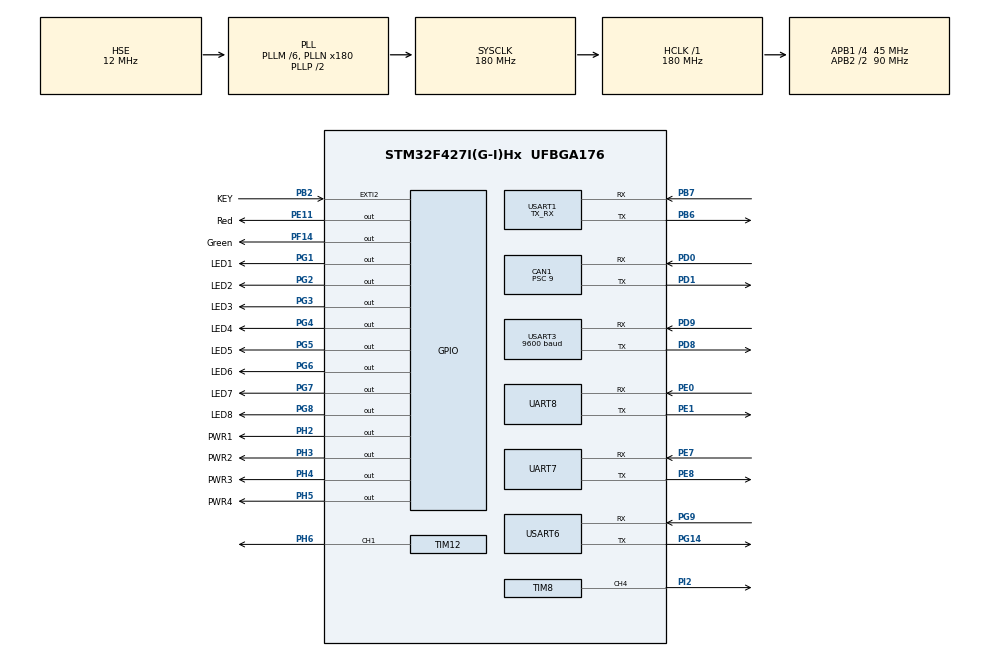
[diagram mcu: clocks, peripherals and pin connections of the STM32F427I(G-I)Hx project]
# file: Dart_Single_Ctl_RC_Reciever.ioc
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CAN1.ABOM=ENABLE
CAN1.BS1=CAN_BS1_2TQ
CAN1.BS2=CAN_BS2_2TQ
CAN1.CalculateBaudRate=1000000
CAN1.CalculateTimeBit=1000
CAN1.CalculateTimeQuantum=200.0
CAN1.Prescaler=9
Dma.Request0=UART7_RX
Dma.Request1=UART7_TX
Dma.Request2=USART3_TX
Dma.Request3=USART6_RX
Dma.Request4=USART1_RX
Dma.UART7_RX.0.Direction=DMA_PERIPH_TO_MEMORY
Dma.UART7_RX.0.FIFOMode=DMA_FIFOMODE_DISABLE
Dma.UART7_RX.0.Instance=DMA1_Stream3
Dma.UART7_RX.0.MemDataAlignment=DMA_MDATAALIGN_BYTE
Dma.UART7_RX.0.MemInc=DMA_MINC_ENABLE
Dma.UART7_RX.0.Mode=DMA_NORMAL
Dma.UART7_RX.0.PeriphDataAlignment=DMA_PDATAALIGN_BYTE
Dma.UART7_RX.0.PeriphInc=DMA_PINC_DISABLE
Dma.UART7_RX.0.Priority=DMA_PRIORITY_LOW
Dma.UART7_TX.1.Direction=DMA_MEMORY_TO_PERIPH
Dma.UART7_TX.1.FIFOMode=DMA_FIFOMODE_DISABLE
Dma.UART7_TX.1.Instance=DMA1_Stream1
Dma.UART7_TX.1.MemDataAlignment=DMA_MDATAALIGN_BYTE
Dma.UART7_TX.1.MemInc=DMA_MINC_ENABLE
Dma.UART7_TX.1.Mode=DMA_NORMAL
Dma.UART7_TX.1.PeriphDataAlignment=DMA_PDATAALIGN_BYTE
Dma.UART7_TX.1.PeriphInc=DMA_PINC_DISABLE
Dma.UART7_TX.1.Priority=DMA_PRIORITY_LOW
Dma.USART1_RX.4.Direction=DMA_PERIPH_TO_MEMORY
Dma.USART1_RX.4.FIFOMode=DMA_FIFOMODE_ENABLE
Dma.USART1_RX.4.FIFOThreshold=DMA_FIFO_THRESHOLD_FULL
Dma.USART1_RX.4.Instance=DMA2_Stream2
Dma.USART1_RX.4.MemBurst=DMA_MBURST_SINGLE
Dma.USART1_RX.4.MemDataAlignment=DMA_MDATAALIGN_BYTE
Dma.USART1_RX.4.MemInc=DMA_MINC_ENABLE
Dma.USART1_RX.4.Mode=DMA_CIRCULAR
Dma.USART1_RX.4.PeriphBurst=DMA_PBURST_SINGLE
Dma.USART1_RX.4.PeriphDataAlignment=DMA_PDATAALIGN_BYTE
Dma.USART1_RX.4.PeriphInc=DMA_PINC_DISABLE
Dma.USART1_RX.4.Priority=DMA_PRIORITY_MEDIUM
Dma.USART3_TX.2.Direction=DMA_MEMORY_TO_PERIPH
Dma.USART3_TX.2.FIFOMode=DMA_FIFOMODE_DISABLE
Dma.USART3_TX.2.Instance=DMA1_Stream4
Dma.USART3_TX.2.MemDataAlignment=DMA_MDATAALIGN_BYTE
Dma.USART3_TX.2.MemInc=DMA_MINC_ENABLE
Dma.USART3_TX.2.Mode=DMA_NORMAL
Dma.USART3_TX.2.PeriphDataAlignment=DMA_PDATAALIGN_BYTE
Dma.USART3_TX.2.PeriphInc=DMA_PINC_DISABLE
Dma.USART3_TX.2.Priority=DMA_PRIORITY_LOW
Dma.USART6_RX.3.Direction=DMA_PERIPH_TO_MEMORY
Dma.USART6_RX.3.FIFOMode=DMA_FIFOMODE_ENABLE
Dma.USART6_RX.3.FIFOThreshold=DMA_FIFO_THRESHOLD_FULL
Dma.USART6_RX.3.Instance=DMA2_Stream1
Dma.USART6_RX.3.MemBurst=DMA_MBURST_SINGLE
Dma.USART6_RX.3.MemDataAlignment=DMA_MDATAALIGN_BYTE
Dma.USART6_RX.3.MemInc=DMA_MINC_ENABLE
Dma.USART6_RX.3.Mode=DMA_CIRCULAR
Dma.USART6_RX.3.PeriphBurst=DMA_PBURST_SINGLE
Dma.USART6_RX.3.PeriphDataAlignment=DMA_PDATAALIGN_BYTE
Dma.USART6_RX.3.PeriphInc=DMA_PINC_DISABLE
Dma.USART6_RX.3.Priority=DMA_PRIORITY_MEDIUM
Mcu.Family=STM32F4
Mcu.Name=STM32F427I(G-I)Hx
Mcu.Package=UFBGA176
NVIC.CAN1_RX0_IRQn=true\:0\:0\:false\:false\:true\:true\:true\:true
NVIC.CAN1_RX1_IRQn=true\:0\:0\:false\:false\:true\:true\:true\:true
NVIC.CAN1_SCE_IRQn=true\:0\:0\:false\:false\:true\:true\:true\:true
NVIC.CAN1_TX_IRQn=true\:0\:0\:false\:false\:true\:true\:true\:true
NVIC.DMA1_Stream1_IRQn=true\:0\:0\:false\:false\:true\:false\:true\:true
NVIC.DMA1_Stream3_IRQn=true\:0\:0\:false\:false\:true\:false\:true\:true
NVIC.DMA1_Stream4_IRQn=true\:0\:0\:false\:false\:true\:false\:true\:true
NVIC.DMA2_Stream1_IRQn=true\:0\:0\:false\:false\:true\:false\:true\:true
NVIC.DMA2_Stream2_IRQn=true\:0\:0\:false\:false\:true\:false\:true\:true
NVIC.PriorityGroup=NVIC_PRIORITYGROUP_4
NVIC.TIM4_IRQn=true\:15\:0\:true\:false\:true\:false\:true\:true
NVIC.TimeBase=TIM4_IRQn
NVIC.TimeBaseIP=TIM4
NVIC.UART7_IRQn=true\:0\:0\:false\:false\:true\:true\:true\:true
NVIC.UART8_IRQn=true\:0\:0\:false\:false\:true\:true\:true\:true
NVIC.USART1_IRQn=true\:0\:0\:false\:false\:true\:true\:true\:true
NVIC.USART3_IRQn=true\:0\:0\:false\:false\:true\:true\:true\:true
PA13.Mode=Serial_Wire
PA13.Signal=SYS_JTMS-SWDIO
PA14.Mode=Serial_Wire
PA14.Signal=SYS_JTCK-SWCLK
PB2/BOOT1.GPIO_Label=KEY
PB2/BOOT1.GPIO_ModeDefaultEXTI=GPIO_MODE_IT_RISING
PB2/BOOT1.GPIO_PuPd=GPIO_PULLDOWN
PB2/BOOT1.Signal=GPXTI2
PB6.Mode=Asynchronous
PB6.Signal=USART1_TX
PB7.Mode=Asynchronous
PB7.Signal=USART1_RX
PC14/OSC32_IN.Mode=LSE-External-Oscillator
PC14/OSC32_IN.Signal=RCC_OSC32_IN
PC15/OSC32_OUT.Mode=LSE-External-Oscillator
PC15/OSC32_OUT.Signal=RCC_OSC32_OUT
PD0.Mode=CAN_Activate
PD0.Signal=CAN1_RX
PD1.Mode=CAN_Activate
PD1.Signal=CAN1_TX
PD8.Mode=Asynchronous
PD8.Signal=USART3_TX
PD9.Mode=Asynchronous
PD9.Signal=USART3_RX
PE0.Mode=Asynchronous
PE0.Signal=UART8_RX
PE1.Mode=Asynchronous
PE1.Signal=UART8_TX
PE11.GPIO_Label=Red
PE11.GPIO_PuPd=GPIO_PULLDOWN
PE11.PinState=GPIO_PIN_SET
PE11.Signal=GPIO_Output
PE7.Mode=Asynchronous
PE7.Signal=UART7_RX
PE8.Mode=Asynchronous
PE8.Signal=UART7_TX
PF14.GPIO_Label=Green
PF14.GPIO_PuPd=GPIO_PULLDOWN
PF14.GPIO_Speed=GPIO_SPEED_FREQ_LOW
PF14.PinState=GPIO_PIN_SET
PF14.Signal=GPIO_Output
PG1.GPIO_Label=LED1
PG1.GPIO_PuPd=GPIO_PULLDOWN
PG1.PinState=GPIO_PIN_SET
PG1.Signal=GPIO_Output
PG14.Mode=Asynchronous
PG14.Signal=USART6_TX
PG2.GPIO_Label=LED2
PG2.GPIO_PuPd=GPIO_PULLDOWN
PG2.PinState=GPIO_PIN_SET
PG2.Signal=GPIO_Output
PG3.GPIO_Label=LED3
PG3.GPIO_PuPd=GPIO_PULLDOWN
PG3.PinState=GPIO_PIN_SET
PG3.Signal=GPIO_Output
PG4.GPIO_Label=LED4
PG4.GPIO_PuPd=GPIO_PULLDOWN
PG4.PinState=GPIO_PIN_SET
PG4.Signal=GPIO_Output
PG5.GPIO_Label=LED5
PG5.GPIO_PuPd=GPIO_PULLDOWN
PG5.PinState=GPIO_PIN_SET
PG5.Signal=GPIO_Output
PG6.GPIO_Label=LED6
PG6.GPIO_PuPd=GPIO_PULLDOWN
PG6.PinState=GPIO_PIN_SET
PG6.Signal=GPIO_Output
PG7.GPIO_Label=LED7
PG7.GPIO_PuPd=GPIO_PULLDOWN
PG7.PinState=GPIO_PIN_SET
PG7.Signal=GPIO_Output
PG8.GPIO_Label=LED8
PG8.GPIO_PuPd=GPIO_PULLDOWN
PG8.PinState=GPIO_PIN_SET
PG8.Signal=GPIO_Output
PG9.Mode=Asynchronous
PG9.Signal=USART6_RX
PH0/OSC_IN.Mode=HSE-External-Oscillator
PH0/OSC_IN.Signal=RCC_OSC_IN
PH1/OSC_OUT.Mode=HSE-External-Oscillator
PH1/OSC_OUT.Signal=RCC_OSC_OUT
PH2.GPIO_Label=PWR1
PH2.GPIO_ModeDefaultOutputPP=GPIO_MODE_OUTPUT_PP
PH2.GPIO_PuPd=GPIO_PULLDOWN
PH2.Signal=GPIO_Output
PH3.GPIO_Label=PWR2
PH3.GPIO_PuPd=GPIO_PULLDOWN
PH3.Signal=GPIO_Output
PH4.GPIO_Label=PWR3
PH4.GPIO_PuPd=GPIO_PULLDOWN
PH4.Signal=GPIO_Output
PH5.GPIO_Label=PWR4
PH5.GPIO_PuPd=GPIO_PULLDOWN
PH5.Signal=GPIO_Output
PH6.Signal=S_TIM12_CH1
PI2.Signal=S_TIM8_CH4
ProjectManager.HeapSize=0x200
ProjectManager.StackSize=0x400
ProjectManager.TargetToolchain=MDK-ARM V5.32
RCC.48MHZClocksFreq_Value=90000000
RCC.AHBFreq_Value=180000000
RCC.APB1CLKDivider=RCC_HCLK_DIV4
RCC.APB1Freq_Value=45000000
RCC.APB1TimFreq_Value=90000000
RCC.APB2CLKDivider=RCC_HCLK_DIV2
RCC.APB2Freq_Value=90000000
RCC.APB2TimFreq_Value=180000000
RCC.CortexFreq_Value=180000000
RCC.HCLKFreq_Value=180000000
RCC.HSE_VALUE=12000000
RCC.HSI_VALUE=16000000
RCC.PLLM=6
RCC.PLLN=180
RCC.PLLSourceVirtual=RCC_PLLSOURCE_HSE
RCC.SYSCLKFreq_VALUE=180000000
RCC.SYSCLKSource=RCC_SYSCLKSOURCE_PLLCLK
RCC.VCOOutputFreq_Value=360000000
SH.S_TIM12_CH1.0=TIM12_CH1,PWM Generation1 CH1
SH.S_TIM8_CH4.0=TIM8_CH4,PWM Generation4 CH4
TIM12.AutoReloadPreload=TIM_AUTORELOAD_PRELOAD_ENABLE
TIM12.Channel-PWM\ Generation1\ CH1=TIM_CHANNEL_1
TIM12.Period=9000 - 1
TIM12.Pulse-PWM\ Generation1\ CH1=2699
TIM8.AutoReloadPreload=TIM_AUTORELOAD_PRELOAD_ENABLE
TIM8.Channel-PWM\ Generation4\ CH4=TIM_CHANNEL_4
TIM8.Period=20000 - 1
TIM8.Prescaler=180 - 1
TIM8.Pulse-PWM\ Generation4\ CH4=2500
UART7.VirtualMode=Asynchronous
UART8.VirtualMode=Asynchronous
USART1.Mode=MODE_TX_RX
USART1.VirtualMode=VM_ASYNC
USART3.BaudRate=9600
USART3.VirtualMode=VM_ASYNC
USART6.VirtualMode=VM_ASYNC
VP_SYS_VS_tim4.Mode=TIM4
VP_TIM12_VS_ClockSourceINT.Mode=Internal
VP_TIM8_VS_ClockSourceINT.Mode=Internal
board=custom

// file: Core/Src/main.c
/* USER CODE BEGIN Header */
/**
 ******************************************************************************
 * @file           : main.c
 * @brief          : Main program body
 ******************************************************************************
 * @attention
 *
 * Copyright (c) 2026 STMicroelectronics.
 * All rights reserved.
 *
 * This software is licensed under terms that can be found in the LICENSE file
 * in the root directory of this software component.
 * If no LICENSE file comes with this software, it is provided AS-IS.
 *
 ******************************************************************************
 */
/* USER CODE END Header */
#include "main.h"
#include "can.h"
#include "dma.h"
#include "tim.h"
#include "usart.h"
#include "gpio.h"

/* USER CODE BEGIN Includes */
#include "IA6B.h"
/* USER CODE END Includes */

/* USER CODE BEGIN PV */
uint8_t gRcData[256] = {0};
int16_t throttle;
int16_t roll;
int16_t pitch;
int16_t yaw;
/* USER CODE END PV */

void SystemClock_Config(void);
/* USER CODE BEGIN PFP */
static void RC_UpdateChannels(void)
{
  throttle = IA6B_ReadChannel(1); // 油门
  roll = IA6B_ReadChannel(2);     // 横滚
  pitch = IA6B_ReadChannel(3);    // 俯仰
  yaw = IA6B_ReadChannel(4);      // 偏航
}

static void RC_ProcessPort(BSP_UART_NUM_e uart_num)
{
  if (IA6B_ProcessIbusPacket(uart_num))
  {
    RC_UpdateChannels();
  }
}

void RC_Task(void)
{
  RC_ProcessPort(BSP_UART_IBUS);
  RC_ProcessPort(BSP_UART_SBUS);
}
/* USER CODE END PFP */

int main(void)
{

  /* MCU Configuration--------------------------------------------------------*/

  /* Reset of all peripherals, Initializes the Flash interface and the Systick. */
  HAL_Init();

  /* Configure the system clock */
  SystemClock_Config();

  /* Initialize all configured peripherals */
  MX_GPIO_Init();
  MX_DMA_Init();
  MX_CAN1_Init();
  MX_UART7_Init();
  MX_USART3_UART_Init();
  MX_USART6_UART_Init();
  MX_UART8_Init();
  MX_TIM12_Init();
  MX_USART1_UART_Init();
  MX_TIM8_Init();
  /* USER CODE BEGIN 2 */
  BSP_UART_Init();
  UART_SetProtocolType(BSP_UART_IBUS, PROTOCOL_IBUS);
  UART_SetProtocolType(BSP_UART_SBUS, PROTOCOL_IBUS);
  HAL_Delay(200);
  /* USER CODE END 2 */

  /* Infinite loop */
  /* USER CODE BEGIN WHILE */
  while (1)
  {
    RC_Task();
    HAL_Delay(10);
    /* USER CODE END WHILE */

  }
}

void SystemClock_Config(void)
{
  RCC_OscInitTypeDef RCC_OscInitStruct = {0};
  RCC_ClkInitTypeDef RCC_ClkInitStruct = {0};

  /** Configure the main internal regulator output voltage
   */
  __HAL_RCC_PWR_CLK_ENABLE();
  __HAL_PWR_VOLTAGESCALING_CONFIG(PWR_REGULATOR_VOLTAGE_SCALE1);

  /** Initializes the RCC Oscillators according to the specified parameters
   * in the RCC_OscInitTypeDef structure.
   */
  RCC_OscInitStruct.OscillatorType = RCC_OSCILLATORTYPE_HSE;
  RCC_OscInitStruct.HSEState = RCC_HSE_ON;
  RCC_OscInitStruct.PLL.PLLState = RCC_PLL_ON;
  RCC_OscInitStruct.PLL.PLLSource = RCC_PLLSOURCE_HSE;
  RCC_OscInitStruct.PLL.PLLM = 6;
  RCC_OscInitStruct.PLL.PLLN = 180;
  RCC_OscInitStruct.PLL.PLLP = RCC_PLLP_DIV2;
  RCC_OscInitStruct.PLL.PLLQ = 4;
  if (HAL_RCC_OscConfig(&RCC_OscInitStruct) != HAL_OK)
  {
    Error_Handler();
  }

  /** Activate the Over-Drive mode
   */
  if (HAL_PWREx_EnableOverDrive() != HAL_OK)
  {
    Error_Handler();
  }

  /** Initializes the CPU, AHB and APB buses clocks
   */
  RCC_ClkInitStruct.ClockType = RCC_CLOCKTYPE_HCLK | RCC_CLOCKTYPE_SYSCLK | RCC_CLOCKTYPE_PCLK1 | RCC_CLOCKTYPE_PCLK2;
  RCC_ClkInitStruct.SYSCLKSource = RCC_SYSCLKSOURCE_PLLCLK;
  RCC_ClkInitStruct.AHBCLKDivider = RCC_SYSCLK_DIV1;
  RCC_ClkInitStruct.APB1CLKDivider = RCC_HCLK_DIV4;
  RCC_ClkInitStruct.APB2CLKDivider = RCC_HCLK_DIV2;

  if (HAL_RCC_ClockConfig(&RCC_ClkInitStruct, FLASH_LATENCY_5) != HAL_OK)
  {
    Error_Handler();
  }
}

void HAL_TIM_PeriodElapsedCallback(TIM_HandleTypeDef *htim)
{
  if (htim->Instance == TIM4)
  {
    HAL_IncTick();
  }
}

void Error_Handler(void)
{
  __disable_irq();
  while (1)
  {
  }
}
